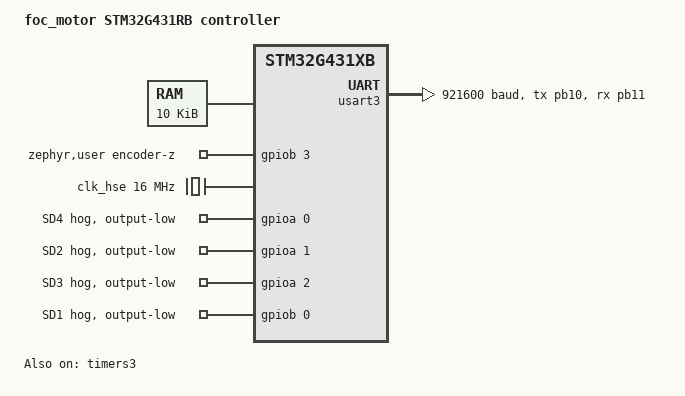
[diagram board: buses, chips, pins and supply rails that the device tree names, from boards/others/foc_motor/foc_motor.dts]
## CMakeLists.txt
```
cmake_minimum_required(VERSION 3.20.0)

list(APPEND BOARD_ROOT ${CMAKE_CURRENT_SOURCE_DIR})
find_package(Zephyr REQUIRED HINTS $ENV{ZEPHYR_BASE})
project(foc_motor LANGUAGES C)

target_sources(app PRIVATE src/main.c src/encoder.c src/analog.c src/pwm_adc.c src/foc_bench.c src/foc_ctrl.c src/power_guard.c src/motor_ident.c src/sincos.c src/foc_speed.c src/cog_map.c src/cog_proc.c)

# lib/foc: the same pure-C sources the host tests build (tests/host/foc).
# tests/foc_vectors: the fixed inputs shared with tests/host/foc/vec_compare.
set(FOC_SOURCES
  lib/foc/src/foc_transform.c
  lib/foc/src/foc_pi.c
  lib/foc/src/foc_svpwm.c
  lib/foc/src/foc_current.c
  tests/foc_vectors/foc_vectors.c)
target_sources(app PRIVATE ${FOC_SOURCES})
target_include_directories(app PRIVATE src lib/foc/include tests/foc_vectors)

# TEXT only: adc_buf and all other DMA/state buffers must stay in SRAM1/2.
# Zephyr generates the flash load image and copies it in arch_data_copy(),
# before z_cstart(), the boot bench, and pwm_adc_init(). NOKEEP preserves GC.
zephyr_code_relocate(FILES
  src/power_guard.c src/foc_speed.c
  lib/foc/src/foc_transform.c lib/foc/src/foc_pi.c
  lib/foc/src/foc_svpwm.c lib/foc/src/foc_current.c
  LOCATION CCM_TEXT NOKEEP)
# Thread interfaces and boot initialization stay in flash; every step target is CCM.
zephyr_code_relocate(FILES src/foc_ctrl.c
  FILTER "^(?!.*[.](ctrl_once|foc_ctrl_(init|snapshot|capture_get|capture_release|ident_get|ident_release|map_get|map_release))$).*"
  LOCATION CCM_TEXT NOKEEP)
zephyr_code_relocate(FILES src/cog_map.c
  FILTER "^(?!.*[.]cog_map_(start|release)$).*" LOCATION CCM_TEXT NOKEEP)
# Alignment validation, resistance fit, reset and result copy run once per identification in flash.
zephyr_code_relocate(FILES src/motor_ident.c
  FILTER "^(?!.*[.](ident_flash|align_delta|motor_ident_start|motor_ident_result_copy)$).*" LOCATION CCM_TEXT NOKEEP)
# Whole pwm_adc.c exceeds CCM capacity. Select attributed ISR helpers and
# the compiler's out-of-line atomic helpers; keep setup/thread APIs in flash.
zephyr_code_relocate(FILES src/pwm_adc.c
  FILTER ".*[.](ccm_hot|atomic_.*)$" LOCATION CCM_TEXT NOKEEP)
# encoder_count() is the ISR's only out-of-line encoder access.
zephyr_code_relocate(FILES src/encoder.c FILTER ".*[.]encoder_count$" LOCATION CCM_TEXT NOKEEP)
# double math is software-emulated on the single-precision M4F FPU.
set_source_files_properties(${FOC_SOURCES} src/foc_ctrl.c src/power_guard.c src/motor_ident.c src/foc_speed.c src/cog_map.c src/cog_proc.c PROPERTIES COMPILE_OPTIONS -Wdouble-promotion)
```

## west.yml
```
manifest:
  projects:
    - name: zephyr
      url: https://github.com/zephyrproject-rtos/zephyr
      revision: v4.4.2
      import:
        name-allowlist:
          - cmsis
          - cmsis_6
          - hal_stm32
  self:
    path: foc_motor
```

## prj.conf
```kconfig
CONFIG_GPIO=y
CONFIG_GPIO_HOGS=y
CONFIG_SENSOR=y

# Single-precision FPU, hard-float ABI (selects FPU_SHARING): lib/foc is float32.
CONFIG_FPU=y

# The ADC2 DMA ISR (future FOC ISR) is the only zero-latency IRQ (AGENTS.md).
CONFIG_ZERO_LATENCY_IRQS=y

# Copy CCM text before z_cstart(), including the boot bench and DMA ISR setup.
# ARM selects ARCH_HAS_CODE_DATA_RELOCATION; CCM is outside the SRAM MPU region,
# so CODE_DATA_RELOCATION_SRAM (which protects RAM_TEXT) is not needed here.
CONFIG_CODE_DATA_RELOCATION=y

CONFIG_MAIN_STACK_SIZE=512
# Measure the report thread's stack high-water mark after libm processing and dumps.
CONFIG_INIT_STACKS=y
CONFIG_THREAD_STACK_INFO=y
CONFIG_ISR_STACK_SIZE=1024
CONFIG_SYSTEM_WORKQUEUE_STACK_SIZE=512
CONFIG_HEAP_MEM_POOL_SIZE=0

CONFIG_SERIAL=y
CONFIG_CONSOLE=y
CONFIG_UART_CONSOLE=y
CONFIG_UART_ASYNC_API=y

CONFIG_LOG=y
CONFIG_LOG_MODE_DEFERRED=y
CONFIG_LOG_BACKEND_UART=y
CONFIG_LOG_BACKEND_UART_ASYNC=y
CONFIG_LOG_BACKEND_UART_BUFFER_SIZE=128
CONFIG_LOG_BUFFER_SIZE=1024
CONFIG_LOG_PROCESS_THREAD_CUSTOM_PRIORITY=y
CONFIG_LOG_PROCESS_THREAD_PRIORITY=6
CONFIG_LOG_BLOCK_IN_THREAD=n
CONFIG_LOG_MODE_OVERFLOW=y
CONFIG_LOG_PRINTK=y

CONFIG_PRINTK=y
CONFIG_BOOT_BANNER=y

CONFIG_COMPILER_WARNINGS_AS_ERRORS=y
CONFIG_BUILD_OUTPUT_BIN=y
CONFIG_BUILD_OUTPUT_HEX=y
```

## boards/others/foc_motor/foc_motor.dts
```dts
/* SPDX-License-Identifier: Apache-2.0 */

/dts-v1/;
#include <st/g4/stm32g431Xb.dtsi>
#include <st/g4/stm32g431r(6-8-b)tx-pinctrl.dtsi>
#include <zephyr/dt-bindings/dma/stm32_dma.h>
#include <zephyr/dt-bindings/gpio/gpio.h>

/ {
	model = "foc_motor STM32G431RB controller";
	compatible = "foc-motor";

	/*
	 * RM0440, memory map and embedded SRAM (DS12589 section 3.5 also
	 * confirms the addresses/sizes): the 10 KiB CCM code window uses
	 * the CPU I-code/D-code buses with zero wait states. DMA must
	 * not use this 0x10000000 window; keep all DMA buffers in sram0.
	 */
	ccm: memory@10000000 {
		compatible = "zephyr,memory-region", "mmio-sram";
		reg = <0x10000000 DT_SIZE_K(10)>;
		zephyr,memory-region = "CCM";
	};

	chosen {
		zephyr,console = &usart3;
		zephyr,shell-uart = &usart3;
		zephyr,sram = &sram0;
		zephyr,flash = &flash0;
	};

	/*
	 * HW-ENC-007 harness as built: encoder CN2-4 Z -> U7-3 PB3, rising edge
	 * once per turn. PB3 is also TRACESWO; only SWD is used, so the SWO
	 * trace output is unavailable while this pin is the Z input.
	 */
	zephyr,user {
		encoder-z-gpios = <&gpiob 3 (GPIO_ACTIVE_HIGH | GPIO_PULL_UP)>;
	};
};

/*
 * RM0440, embedded SRAM; DS12589 section 3.5: SRAM1 = 16 KiB, SRAM2 =
 * 6 KiB. The remaining 10 KiB of upstream sram0 is the CCM alias at
 * 0x20005800 (accessible to DMA through the System bus). Exclude that
 * alias so stacks, data and DMA cannot overlap CCM code.
 */
&sram0 {
	reg = <0x20000000 DT_SIZE_K(22)>;
};

&clk_hse {
	clock-frequency = <DT_FREQ_M(16)>;
	status = "okay";
};

&pll {
	div-m = <4>;
	mul-n = <85>;
	div-p = <7>;
	div-q = <2>;
	div-r = <2>;
	clocks = <&clk_hse>;
	status = "okay";
};

&rcc {
	clocks = <&pll>;
	clock-frequency = <DT_FREQ_M(170)>;
	ahb-prescaler = <1>;
	apb1-prescaler = <1>;
	apb2-prescaler = <1>;
};

&gpioa {
	status = "okay";

	sd4_hog: motor-shutdown-d {
		gpio-hog;
		gpios = <0 GPIO_ACTIVE_HIGH>;
		output-low;
		line-name = "SD4";
	};

	sd2_hog: motor-shutdown-b {
		gpio-hog;
		gpios = <1 GPIO_ACTIVE_HIGH>;
		output-low;
		line-name = "SD2";
	};

	sd3_hog: motor-shutdown-c {
		gpio-hog;
		gpios = <2 GPIO_ACTIVE_HIGH>;
		output-low;
		line-name = "SD3";
	};
};

&gpiob {
	status = "okay";

	sd1_hog: motor-shutdown-a {
		gpio-hog;
		gpios = <0 GPIO_ACTIVE_HIGH>;
		output-low;
		line-name = "SD1";
	};
};

/* HW-UART-003: H2 pin 6 TX/PB10, pin 5 RX/PB11, pin 1 GND. */
&usart3 {
	pinctrl-0 = <&usart3_tx_pb10 &usart3_rx_pb11>;
	pinctrl-names = "default";
	current-speed = <921600>;
	interrupts = <39 5>;
	dmas = <&dmamux1 2 29 (STM32_DMA_PERIPH_TX | STM32_DMA_PRIORITY_LOW)>;
	dma-names = "tx";
	status = "okay";
};

/*
 * HW-ENC-005/007: encoder A -> PB4 TIM3_CH1, B -> PB5 TIM3_CH2 (AF2). The
 * KTH7823 holds A/B/Z high at power-up, so the pull-ups match its idle level
 * and keep the inputs defined while the harness is unplugged.
 */
&tim3_ch1_pb4 {
	bias-pull-up;
};

&tim3_ch2_pb5 {
	bias-pull-up;
};

&timers3 {
	status = "okay";

	encoder: qdec {
		compatible = "st,stm32-qdec";
		pinctrl-0 = <&tim3_ch1_pb4 &tim3_ch2_pb5>;
		pinctrl-names = "default";
		/* x4: count every A and B edge, 1024 A/B periods -> 4096 counts per turn (HW-ENC-003). */
		st,encoder-mode = <0x3>;
		/* 8 samples at 170 MHz = 47 ns, well below the edge spacing at motor speed. */
		st,input-filter-level = <3>;
		st,counts-per-revolution = <4096>;
		status = "okay";
	};
};

/*
 * TIM1, ADC2 and DMA2 stay disabled here on purpose: src/pwm_adc.c drives
 * them directly (TIM1 outputs off, ADC2 [IA, IC] on TIM1 TRGO2, DMA2
 * channel 1), so no Zephyr driver or pinctrl may claim them. PC0-PC3 keep
 * their reset analog mode (HW-PWM-009).
 */

&exti {
	/* Same level as the other drivers; the FOC ISR is the only planned zero-latency IRQ. */
	interrupts = <6 5>, <7 5>, <8 5>, <9 5>, <10 5>, <23 5>, <40 5>;
};

&dma1 {
	interrupts = <11 5>, <12 5>, <13 5>, <14 5>, <15 5>, <16 5>;
	status = "okay";
};

&dmamux1 {
	status = "okay";
};
```

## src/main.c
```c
/* SPDX-License-Identifier: Apache-2.0 */

#include "cog_proc.h"
#include "encoder.h"
#include "foc_bench.h"
#include "foc_ctrl.h"
#include "pwm_adc.h"
#include "sincos.h"

#include <zephyr/devicetree.h>
#include <zephyr/devicetree/dma.h>
#include <zephyr/devicetree/gpio.h>
#include <zephyr/fatal.h>
#include <zephyr/kernel.h>
#include <zephyr/logging/log.h>
#include <zephyr/logging/log_ctrl.h>
#include <zephyr/sys/util.h>

LOG_MODULE_REGISTER(foc_motor, LOG_LEVEL_INF);

#define ASSERT_SHUTDOWN_LOW(node_id, port_id, pin, name)                                                               \
    BUILD_ASSERT(DT_NODE_HAS_PROP(node_id, gpio_hog), name " must be a GPIO hog");                                     \
    BUILD_ASSERT(DT_NODE_HAS_PROP(node_id, output_low), name " must start low");                                       \
    BUILD_ASSERT(DT_SAME_NODE(DT_PARENT(node_id), port_id), name " wrong port");                                       \
    BUILD_ASSERT(DT_GPIO_HOG_PIN_BY_IDX(node_id, 0) == (pin), name " wrong pin")

ASSERT_SHUTDOWN_LOW(DT_NODELABEL(sd1_hog), DT_NODELABEL(gpiob), 0, "SD1");
ASSERT_SHUTDOWN_LOW(DT_NODELABEL(sd2_hog), DT_NODELABEL(gpioa), 1, "SD2");
ASSERT_SHUTDOWN_LOW(DT_NODELABEL(sd3_hog), DT_NODELABEL(gpioa), 2, "SD3");
ASSERT_SHUTDOWN_LOW(DT_NODELABEL(sd4_hog), DT_NODELABEL(gpioa), 0, "SD4");
BUILD_ASSERT(!DT_NODE_HAS_STATUS(DT_NODELABEL(timers1), okay),
             "TIM1 node must stay disabled: no Zephyr PWM driver or pins (src/pwm_adc.c)");
BUILD_ASSERT(DT_SAME_NODE(DT_CHOSEN(zephyr_console), DT_NODELABEL(usart3))
                 && DT_SAME_NODE(DT_CHOSEN(zephyr_shell_uart), DT_NODELABEL(usart3)),
             "Console and shell UART must use the USART3 header");
BUILD_ASSERT(!DT_NODE_HAS_STATUS(DT_NODELABEL(usart1), okay), "CH340 USART1 must remain disabled");
BUILD_ASSERT(DT_PROP(DT_NODELABEL(usart3), current_speed) == 921600, "USART3 must run at 921600 baud");
BUILD_ASSERT(DT_DMAS_HAS_NAME(DT_NODELABEL(usart3), tx), "USART3 must have a TX DMA channel");
BUILD_ASSERT(DT_DMAS_CELL_BY_NAME(DT_NODELABEL(usart3), tx, channel) == 2,
             "USART3 TX must use DMA selector 2 (DMA1 channel 3) during M1");
BUILD_ASSERT(DT_DMAS_CELL_BY_NAME(DT_NODELABEL(usart3), tx, slot) == 29, "USART3 TX must use DMAMUX request 29");

/* Telemetry: a "rot" line every ROT_PERIOD_MS, the full report every REPORT_EVERY lines. */
#define ROT_PERIOD_MS     100
#define REPORT_EVERY      10U

/* TIM1 counts at HCLK: 170 ticks per microsecond. */
#define TIM1_TICKS_PER_US 170U

/*
 * The report path (log package + log message allocation) needs more than the
 * 512-byte main stack that the M1 budget pins, so it runs in its own
 * statically allocated thread, which also runs the Stage 5 FOC bench first.
 * Lower priority than the log thread (6).
 */
#define REPORT_STACK_SIZE 2048
#define REPORT_PRIORITY   7

K_THREAD_STACK_DEFINE(report_stack, REPORT_STACK_SIZE);
static struct k_thread report_thread;

/**
 * Shut down before application fatal logging, then retain Zephyr's halt policy.
 *
 * In v4.4.2, z_arm_fault() classifies and prints the hardware fault before
 * z_arm_fatal_error() dumps the exception frame. z_fatal_error() then logs
 * the reason/current thread and invokes coredump() before calling this hook.
 * CONFIG_EXCEPTION_DUMP_HOOK with arch_exception_set_dump_hook() could run
 * earlier, before each exception diagnostic; that optional output hook is not
 * installed here. Latency through the preceding diagnostics is not bounded.
 */
void k_sys_fatal_error_handler(unsigned int reason, const struct arch_esf* esf) {
    pwm_adc_fatal_off();
    ARG_UNUSED(esf);
    LOG_PANIC();
    LOG_ERR("fatal: power stage off (reason %u)", reason);
    k_fatal_halt(reason);
}

/** Log the report thread's minimum unused stack so far, outside the large dump frames. */
static __noinline void report_stack_space(const char* context) {
    size_t unused;
    int ret = k_thread_stack_space_get(&report_thread, &unused);

    if (ret == 0) {
        LOG_INF("report stack unused %u B (%s)", (unsigned int)unused, context);
    } else {
        LOG_WRN("report stack measurement failed: %d (%s)", ret, context);
    }
}

/* One capture line is about 60 characters, 0.7 ms at 921600 baud; the pause keeps the 1 KiB log buffer from dropping. */
#define CAPTURE_LINE_PAUSE_MS 2

/* Supervise FOC progress in system-timer ISR context, independent of report-thread delays. */
static void supervise_expiry(struct k_timer* timer) {
    ARG_UNUSED(timer);
    pwm_adc_supervise();
}

K_TIMER_DEFINE(supervise_timer, supervise_expiry, NULL);

static const char* const mode_names[] = {
    [FOC_MODE_IDLE] = "idle (zero vector)",
    [FOC_MODE_DC] = "dc (fixed vector, ramped)",
    [FOC_MODE_STEP] = "step (capture)",
    [FOC_MODE_VOLTAGE] = "voltage (stage 6, 1 V at the encoder angle)",
    [FOC_MODE_CURRENT] = "current loop (calibrated dq)",
    [FOC_MODE_IDENT] = "ident",
    [FOC_MODE_OPENLOOP] = "openloop (rotating vector, ramped)",
    [FOC_MODE_MAP] = "cogging map",
    [FOC_MODE_SPEED] = "speed loop (calibrated dq)",
};

/* Thousandths, truncated toward zero; the inputs are a few units at most. */
static int32_t milli(float x) {
    return (int32_t)(x * 1000.0f);
}

/* Duty in 1/10000. */
static uint32_t duty_e4(float d) {
    return (uint32_t)(d * 10000.0f + 0.5f);
}

/* Kept out of line so its log packages live on this frame, not report_loop's. */
static __noinline void report(uint32_t n, const pwm_adc_stats_t* st, bool timing_valid, const foc_ctrl_snapshot_t* fc) {
    LOG_INF("  calib_valid %u, direction %d, offset_e %u electrical counts", fc->calib_valid ? 1U : 0U,
            fc->calib_direction, fc->calib_offset_e);
    if (st->isr_count == 0U) {
        LOG_WRN("report %u: no ISR in this window; fault 0x%x, DMA errors %u, ADC overruns %u", n, st->fault,
                st->dma_errors, st->adc_overruns);
        return;
    }

    /* Counting down, CNT = ARR - ticks since the top, where the ADC was triggered. */
    uint32_t after_top_min = (PWM_ARR - st->cnt_max) * 100U / TIM1_TICKS_PER_US;
    uint32_t after_top_max = (PWM_ARR - st->cnt_min) * 100U / TIM1_TICKS_PER_US;

    if (timing_valid) {
        LOG_INF("report %u: %u ISR/s, period %u..%u cyc, exec max %u cyc (budget %u)", n, st->isr_count, st->period_min,
                st->period_max, st->exec_max, PWM_ADC_EXEC_BUDGET);
        LOG_INF("  segments pre/step/post max %u/%u/%u cyc", st->pre_max, st->step_max, st->post_max);
    } else {
        LOG_WRN("report %u: %u ISR/s, DWT was stopped (debugger?) and is restarted; cycle figures invalid", n,
                st->isr_count);
    }
    LOG_INF("  TIM1 CNT at ISR %u..%u (%u.%02u..%u.%02u us after top), counting up in %u", st->cnt_min, st->cnt_max,
            after_top_min / 100U, after_top_min % 100U, after_top_max / 100U, after_top_max % 100U, st->counting_up);
    LOG_INF("  overruns %u, missed %u, fault 0x%x, DMA errors %u, ADC overruns %u; CCR %u %u %u", st->overruns,
            st->missed, st->fault, st->dma_errors, st->adc_overruns, st->ccr[0], st->ccr[1], st->ccr[2]);
    if (fc->cal_failed) {
        LOG_ERR("  current calibration FAILED: offsets IA %d.%03d IC %d.%03d counts; spreads IA %u IC %u counts; "
                "power remains disabled until reset",
                milli(fc->ia_offset) / 1000, milli(fc->ia_offset) % 1000, milli(fc->ic_offset) / 1000,
                milli(fc->ic_offset) % 1000, fc->ia_spread, fc->ic_spread);
        return;
    }
    if (!fc->calibrated) {
        LOG_INF("  calibrating current offsets");
        return;
    }
    LOG_INF("  mode %s, step %u; offsets IA %d.%03d IC %d.%03d counts", mode_names[fc->mode], fc->steps,
            milli(fc->ia_offset) / 1000, milli(fc->ia_offset) % 1000, milli(fc->ic_offset) / 1000,
            milli(fc->ic_offset) % 1000);
    LOG_INF("  dtc %s%s", fc->dtc ? "on" : "off", fc->dtc_refused ? " (refused: V0 outside 50..600 mV)" : "");
    LOG_INF("  cff %s%s, ff_valid %u; map phase %u reason %u", fc->cff ? "on" : "off",
            fc->cff_refused ? " (refused: no valid map)" : "", fc->ff_valid ? 1U : 0U, (unsigned int)fc->map_phase,
            (unsigned int)fc->map_reason);
    LOG_INF("  ident phase %u", (unsigned int)fc->ident_phase);
    LOG_INF("  i_d %d mA, i_q %d mA, v_d %d mV, v_q %d mV, limited %d", milli(fc->i_d), milli(fc->i_q), milli(fc->v_d),
            milli(fc->v_q), fc->limited ? 1 : 0);
    if (fc->mode == FOC_MODE_SPEED) {
        LOG_INF("  speed kp %d uA/rpm, ki %d uA/(rpm s), ref %d milli-rpm, latched %d rpm",
                (int32_t)(FOC_CTRL_SPD_KP * 1e6f), (int32_t)(FOC_CTRL_SPD_KI * 1e6f), milli(fc->spd_ref_rpm),
                fc->spd_target_rpm);
    }
    if (fc->mode == FOC_MODE_CURRENT || fc->mode == FOC_MODE_SPEED) {
        LOG_INF("  cc refs id %d iq %d mA, kp %d mV/A, ki %d V/(A s), speed %d rpm", milli(fc->i_d_ref),
                milli(fc->i_q_ref), milli(fc->cc_kp), (int32_t)fc->cc_ki, fc->speed_counts * 6000 / 4096);
    }
}

/* Power-stage state and the averaged measurements for the R test. */
static __noinline void report_power(const pwm_adc_stats_t* st, const foc_ctrl_snapshot_t* fc) {
    LOG_INF("  power %s (request %d, on %u times), VBUS %d mV (avg %d mV); avg IA %d IB %d IC %d mA",
            st->power_on ? "ON" : "off", fc->power_req ? 1 : 0, st->power_ons, milli(fc->vbus), milli(fc->vbus_f),
            milli(fc->ia_f), milli(fc->ib_f), milli(fc->ic_f));
    LOG_INF("  cmd: arm %s, mode %u%s, v %u mV, theta_e %u; encoder mech %u",
            foc_ctrl_cmd.arm == FOC_CTRL_ARM_KEY ? "KEY" : "0", foc_ctrl_cmd.mode,
            fc->mode_refused ? " (refused, idle runs)" : "", foc_ctrl_cmd.v_mv, foc_ctrl_cmd.theta_e,
            fc->enc_count % ENCODER_COUNTS_PER_REV);
}

/** Emit speed telemetry at 100 ms intervals, including while a capture is being dumped. */
static __noinline void report_speed(foc_ctrl_snapshot_t* fc) {
    static int64_t next_ms;
    int64_t now = k_uptime_get();

    if (now < next_ms) {
        return;
    }
    next_ms = (now / ROT_PERIOD_MS + 1) * ROT_PERIOD_MS;
    foc_ctrl_snapshot(fc);
    if (fc->mode == FOC_MODE_SPEED) {
        LOG_INF("spd %u %d %d %d %d", fc->steps, (int32_t)fc->spd_ref_rpm, (int32_t)(fc->speed_rpm * 10.0f),
                milli(fc->i_q_ref), milli(fc->i_q));
    }
}

/* Prints a finished step capture, then hands the buffer back to the ISR. */
static __noinline void dump_capture(const foc_ctrl_capture_t* c, foc_ctrl_snapshot_t* fc) {
    if (c->kind == 2U) {
        LOG_INF("cap_begin seq %u, kind 2, refs %d -> %d rpm, VBUS %d mV, power %s, %u samples at 1 kHz, "
                "step at %u, dtc %s%s, cff %s%s",
                c->seq, c->old_spd_rpm, c->new_spd_rpm, milli(c->vbus), c->power_on ? "on" : "OFF",
                FOC_CTRL_CAPTURE_LEN, FOC_CTRL_CAPTURE_PRE, c->dtc ? "on" : "off",
                c->dtc_refused ? " (refused: implausible V0)" : "", c->cff ? "on" : "off",
                c->cff_refused ? " (refused: no valid map)" : "");
    } else if (c->kind == 1U) {
        LOG_INF("cap_begin seq %u, kind 1, refs id %d -> %d iq %d -> %d mA, VBUS %d mV, power %s, %u samples, "
                "step at %u, dtc %s%s, cff %s%s",
                c->seq, c->old_id_ma, c->new_id_ma, c->old_iq_ma, c->new_iq_ma, milli(c->vbus),
                c->power_on ? "on" : "OFF", FOC_CTRL_CAPTURE_LEN, FOC_CTRL_CAPTURE_PRE, c->dtc ? "on" : "off",
                c->dtc_refused ? " (refused: implausible V0)" : "", c->cff ? "on" : "off",
                c->cff_refused ? " (refused: no valid map)" : "");
    } else {
        LOG_INF("cap_begin seq %u, step %u mV at theta_e %u, VBUS %d mV, power %s, %u samples (%u zero, %u on)", c->seq,
                c->v_mv, c->theta_e, milli(c->vbus), c->power_on ? "on" : "OFF", FOC_CTRL_CAPTURE_LEN,
                FOC_CTRL_CAPTURE_PRE, FOC_CTRL_CAPTURE_ON);
    }
    for (uint32_t k = 0; k < FOC_CTRL_CAPTURE_LEN; k++) {
        if (c->kind == 2U) {
            LOG_INF("capspd %u %u %d %d", c->seq, k, c->ia_ma[k], c->ic_ma[k]);
        } else if (c->kind == 1U) {
            LOG_INF("capdq %u %u %d %d", c->seq, k, c->ia_ma[k], c->ic_ma[k]);
        } else {
            LOG_INF("cap %u %u %d %d", c->seq, k, c->ia_ma[k], c->ic_ma[k]);
        }
        k_msleep(CAPTURE_LINE_PAUSE_MS);
        report_speed(fc);
    }
    LOG_INF("cap_end seq %u", c->seq);
    foc_ctrl_capture_release();
}

/** Scale identification diagnostics without undefined integer conversion for an ill-conditioned fit. */
static int32_t ident_units(float value, float scale) {
    float scaled = value * scale;

    if (!(scaled > -2147483648.0f)) {
        return INT32_MIN; /* Includes NaN; terminal diagnostics must remain printable. */
    }
    if (scaled >= 2147483648.0f) {
        return INT32_MAX;
    }
    return (int32_t)scaled;
}

/** Print one terminal identification with explicit units, then release its ISR buffer. */
static __noinline void dump_ident(const foc_ctrl_ident_t* r) {
    LOG_INF("ident state %u, fail %u; enc120 %u enc240 %u enc360 %u raw mechanical counts", (unsigned int)r->state,
            (unsigned int)r->fail_reason, r->enc_120, r->enc_240, r->enc_360);
    LOG_INF("ident delta_a %d delta_b %d mechanical counts, direction %d, offset %u electrical counts", r->delta_a,
            r->delta_b, r->direction, r->offset_e);
    LOG_INF("ident park A %u B %u, return120 %u raw counts; friction half %d electrical counts", r->enc_360,
            r->enc_zero_back, r->enc_return_120, r->friction_half_e);
    LOG_INF("ident rotation c %d, load %d, offset_e_new %u electrical counts", r->offset_c, r->offset_load,
            r->offset_e_new);
    k_msleep(CAPTURE_LINE_PAUSE_MS);
    for (uint32_t k = 0U; k < IDENT_R_POINTS; k++) {
        LOG_INF("ident R point %u: %d mV, %d mA", k, milli(r->points[k].v), milli(r->points[k].i));
        k_msleep(CAPTURE_LINE_PAUSE_MS);
    }
    LOG_INF("ident R %d mOhm, V0 %d mV, residual %d mV, nonlinear %u; L %d uH, ipp %d mA", ident_units(r->r, 1000.0f),
            ident_units(r->v0, 1000.0f), ident_units(r->max_residual, 1000.0f), r->r_nonlinear ? 1U : 0U,
            ident_units(r->l, 1e6f), ident_units(r->ipp, 1000.0f));
    foc_ctrl_ident_release();
}

/** Process and report a terminal map before returning ownership to the ISR. */
static __noinline void dump_map(const cog_raw_t* raw, foc_ctrl_snapshot_t* fc) {
    static cog_processed_t result;
    bool ok = cog_process(raw, &result);
    LOG_INF("cogmap_result phase %u reason %u", (unsigned int)raw->phase, (unsigned int)raw->reason);
    for (uint32_t k = 0U; k < COG_GAIN_POINTS; k++) {
        float a = raw->gain[k].alpha_ma;
        float beta = raw->gain[k].beta_ma;
        LOG_INF("gainchk %u %u %d %d %d %d %d", k, k * 4096U / COG_GAIN_POINTS, ident_units(a, 1.0f),
                ident_units((-a + 1.7320508f * beta) * 0.5f, 1.0f), ident_units((-a - 1.7320508f * beta) * 0.5f, 1.0f),
                ident_units(result.magnitude_ma[k], 1.0f), ident_units(result.angle_error[k], 1.0f));
        k_msleep(CAPTURE_LINE_PAUSE_MS);
        report_speed(fc);
    }
    LOG_INF("gainfit I0 %d e1 %d p1 %d e2 %d p2 %d", ident_units(result.i0_ma, 1.0f),
            ident_units(result.e1_permille, 1.0f), ident_units(result.p1_counts, 1.0f),
            ident_units(result.e2_permille, 1.0f), ident_units(result.p2_counts, 1.0f));
    if (ok) {
        for (uint32_t b = 0U; b < FOC_CTRL_MAP_BINS; b++) {
            LOG_INF("cogmap %u %d %d %d", b, (int32_t)cog_bin_mean(raw, 0U, b), (int32_t)cog_bin_mean(raw, 1U, b),
                    result.ff[b]);
            k_msleep(CAPTURE_LINE_PAUSE_MS);
            report_speed(fc);
        }
        for (uint32_t h = 0U; h < COG_HARMONICS; h++) {
            LOG_INF("cogharm %u %d %d", cog_orders[h], (int32_t)result.harmonic[h].amplitude_ma,
                    (int32_t)result.harmonic[h].phase_counts);
            k_msleep(CAPTURE_LINE_PAUSE_MS);
        }
        LOG_INF("friction %d", (int32_t)result.friction_ma);
        LOG_INF("gain e2 includes phase resistance imbalance; order 84 is near the 256-bin resolution limit");
    }
    LOG_INF("cogmap_ok %u", ok ? 1U : 0U);
    foc_ctrl_map_release(ok ? result.ff : NULL);
}

/* Mechanical count, electrical angle (0..4095) and the three duties of one ISR step. */
static __noinline void report_rot(const foc_ctrl_snapshot_t* fc) {
    LOG_INF("rot %u %u %u %u %u %u", fc->steps, fc->enc_count % ENCODER_COUNTS_PER_REV, fc->theta_e_count,
            duty_e4(fc->duty_a), duty_e4(fc->duty_b), duty_e4(fc->duty_c));
}

/** Print commanded and calibrated rotor angles at the rotation telemetry cadence. */
static __noinline void report_openloop(const foc_ctrl_snapshot_t* fc) {
    if (fc->calib_valid) {
        int32_t err = (int32_t)((fc->theta_e_count + 2048U - fc->theta_meas_count) & 4095U) - 2048;

        LOG_INF("ol %u %u %u %d", fc->steps, fc->theta_e_count, fc->theta_meas_count, err);
    } else {
        LOG_INF("ol %u %u invalid", fc->steps, fc->theta_e_count);
    }
}

/* Stage 5 bench first, while no ISR can disturb the timing; then the FOC ISR and its telemetry. */
static void report_loop(void* p1, void* p2, void* p3) {
    ARG_UNUSED(p1);
    ARG_UNUSED(p2);
    ARG_UNUSED(p3);

    pwm_adc_stats_t st;
    foc_ctrl_snapshot_t fc;

    sincos_init();
    foc_bench_run();

    foc_ctrl_init();
    int ret = pwm_adc_init(foc_ctrl_step, foc_ctrl_fault);

    if (ret < 0) {
        LOG_ERR("pwm_adc_init failed: %d", ret);
        return;
    }
    k_timer_start(&supervise_timer, K_MSEC(10), K_MSEC(10));
    LOG_INF("FOC ISR on: TIM1 ARR %u (20 kHz center-aligned, RCR 1), ADC2 [IA, IC, VBUS] on TRGO2 at the top; "
            "offset calibration %u periods; power stage off",
            PWM_ARR, FOC_CTRL_CAL_SAMPLES);
    LOG_INF("command block foc_ctrl_cmd at %p: arm +0, mode +4, v_mv +8, theta_e +12, step_seq +16, rate_e +20; "
            "id_ma +24, iq_ma +28, dtc +32, spd_rpm +36, spd_step +40, cff +44, crash +48; arm key 0x%08x",
            (void*)&foc_ctrl_cmd, FOC_CTRL_ARM_KEY);

    /* Drop the start-up window. */
    (void)pwm_adc_stats_take(&st);
    bool supervisor_reported = false;

    for (uint32_t n = 1;; n++) {
        k_msleep((int32_t)(ROT_PERIOD_MS - k_uptime_get() % ROT_PERIOD_MS));

        /* Test-only debugger hook: SVC oops reaches our fatal handler in Zephyr v4.4.2. */
        if (foc_ctrl_cmd.crash == 0x43524153U) { /* "CRAS" */
            foc_ctrl_cmd.crash = 0U;
            k_oops();
        }
        if (!supervisor_reported && pwm_adc_supervisor_tripped()) {
            LOG_ERR("FOC ISR progress below 150 per 10 ms while powered; power stage off, timer stopped until reset");
            supervisor_reported = true;
        }
        if (!pwm_adc_outputs_safe()) {
            pwm_adc_stop();
            LOG_ERR("pin invariant broken (PC0-PC3, SD1-SD4 or CCER); power stage off, outputs off, timer stopped");
            return;
        }
        foc_ctrl_snapshot(&fc);
        if (fc.calibrated) {
            report_rot(&fc);
            report_speed(&fc);
            if (fc.mode == FOC_MODE_OPENLOOP) {
                report_openloop(&fc);
            }
        }
        if (n % REPORT_EVERY == 0U) {
            bool timing_valid = pwm_adc_stats_take(&st);

            report(n / REPORT_EVERY, &st, timing_valid, &fc);
            if (fc.calibrated) {
                report_power(&st, &fc);
            }
            report_stack_space("periodic");
        }

        const foc_ctrl_capture_t* c = foc_ctrl_capture_get();

        if (c != NULL) {
            dump_capture(c, &fc);
            report_stack_space("after dump_capture");
        }
        const foc_ctrl_ident_t* ident = foc_ctrl_ident_get();

        if (ident != NULL) {
            dump_ident(ident);
            report_stack_space("after dump_ident");
        }
        const cog_raw_t* raw = foc_ctrl_map_get();
        if (raw != NULL) {
            dump_map(raw, &fc);
            report_stack_space("after dump_map");
        }
    }
}

int main(void) {
    int ret = encoder_init();

    LOG_INF("Stage 8 build: FOC bench, then the FOC ISR; power stage off until armed (VBUS 14.0-16.5 V, arm key); "
            "TIM1 CH1-3 also on PA8-PA10, CH3N on PB9 (U7-4)");
    if (ret < 0) {
        LOG_ERR("encoder_init failed: %d", ret);
        return 0;
    }

    (void)k_thread_create(&report_thread, report_stack, K_THREAD_STACK_SIZEOF(report_stack), report_loop, NULL, NULL,
                          NULL, REPORT_PRIORITY, 0, K_NO_WAIT);
    return 0;
}
```

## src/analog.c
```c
/* SPDX-License-Identifier: Apache-2.0 */

#include "analog.h"

#include <zephyr/devicetree.h>

/* Board constants from DOC-MAIN-SCH. */
#define NTC_PULLUP_OHM 10000

int32_t analog_code_x100_to_mv(int32_t code_x100) {
    int64_t num = (int64_t)code_x100 * ANALOG_VDDA_MV;

    return (int32_t)(num / (100LL * ANALOG_FULL_SCALE));
}

int32_t analog_phase_current_ma(int32_t code_x100, int32_t offset_x100) {
    int64_t num = (int64_t)(code_x100 - offset_x100) * ANALOG_VDDA_MV * ANALOG_SHUNT_MA_PER_V;

    /* mV * (mA/V) / 1000 = mA */
    return (int32_t)(num / (100LL * ANALOG_FULL_SCALE * 1000));
}

int32_t analog_vbus_mv(int32_t code_x100) {
    int64_t pin_mv = analog_code_x100_to_mv(code_x100);

    return (int32_t)(pin_mv * (ANALOG_VBUS_DIV_TOP_OHM + ANALOG_VBUS_DIV_BOT_OHM) / ANALOG_VBUS_DIV_BOT_OHM);
}

int32_t analog_ntc_ohm(int32_t code_x100) {
    int64_t den = 100LL * ANALOG_FULL_SCALE - code_x100;

    if (den <= 0) {
        return -1;
    }
    return (int32_t)((int64_t)NTC_PULLUP_OHM * code_x100 / den);
}
```

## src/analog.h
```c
/* SPDX-License-Identifier: Apache-2.0 */

/*
 * BSP: the board's ADC count-to-unit conversions for the phase currents,
 * bus voltage and NTC (docs/hardware/hardware_reference.md section 4 and
 * schematic R36/R38). The samples come from src/pwm_adc.c.
 *
 * All conversions are integer and take VDDA from the ADC2 devicetree node
 * (vref-mv, default 3300).
 */

#ifndef FOC_MOTOR_ANALOG_H
#define FOC_MOTOR_ANALOG_H

#include <stdint.h>

#include <zephyr/devicetree.h>

/* 12-bit full-scale code (RM0440: V = code * VREF+ / 4095). */
#define ANALOG_FULL_SCALE       4095

/* VREF+ = VDDA = the board 3.3 V rail; the binding default is 3300. */
#define ANALOG_VDDA_MV          DT_PROP(DT_NODELABEL(adc2), vref_mv)

/* 1 / (5 mOhm shunt * gain 10) = 20 A/V (HW-ADC-001/002). */
#define ANALOG_SHUNT_MA_PER_V   20000

/* DC bus divider R83 / R56 (HW-ADC-013). */
#define ANALOG_VBUS_DIV_TOP_OHM 100000
#define ANALOG_VBUS_DIV_BOT_OHM 4700

/* DC bus volts per ADC count, for the float control path: VDDA / 4095 * (100k + 4.7k) / 4.7k. */
#define ANALOG_VBUS_V_PER_CODE                                                                                         \
    ((float)ANALOG_VDDA_MV * (float)(ANALOG_VBUS_DIV_TOP_OHM + ANALOG_VBUS_DIV_BOT_OHM)                                \
     / (1000.0f * (float)ANALOG_FULL_SCALE * (float)ANALOG_VBUS_DIV_BOT_OHM))

/* Phase current per ADC count, in A, for the float control path: VDDA / 4095 * 20 A/V. */
#define ANALOG_PHASE_A_PER_CODE                                                                                        \
    ((float)ANALOG_VDDA_MV * (float)ANALOG_SHUNT_MA_PER_V / (1e6f * (float)ANALOG_FULL_SCALE))

/* Pin voltage in mV for a code given in hundredths of a count. */
int32_t analog_code_x100_to_mv(int32_t code_x100);

/*
 * Phase current in mA: I = (V - V_offset) / (5 mOhm * 10) = 20 A/V
 * (HW-ADC-001/002). The offset is the measured zero-current code, both in
 * hundredths of a count. The sign convention is not confirmed (HW-ADC-010).
 */
int32_t analog_phase_current_ma(int32_t code_x100, int32_t offset_x100);

/* DC bus in mV: V_BUS pin * (100k + 4.7k) / 4.7k (HW-ADC-006). */
int32_t analog_vbus_mv(int32_t code_x100);

/*
 * NTC resistance in ohms: 3.3 V -> R38 10k -> TEMP -> NTC -> GND, so
 * R_ntc = 10k * code / (4095 - code), independent of VDDA. Returns -1 at
 * full scale (NTC open). The NTC nominal value and B constant are unknown.
 */
int32_t analog_ntc_ohm(int32_t code_x100);

#endif /* FOC_MOTOR_ANALOG_H */
```

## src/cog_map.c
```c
/* SPDX-License-Identifier: Apache-2.0 */
#include "cog_map.h"

#include <math.h>
#include <stddef.h>

_Static_assert(ATOMIC_INT_LOCK_FREE == 2, "ISR publication requires lock-free atomics");
/* |iq| <= 0.5 A, quantized to mA: even every period in one bin is
 * <= 1100000 * 500 = 550000000 < INT32_MAX. Counts are checked before
 * incrementing; uint16 saturation aborts rather than wrapping.
 */
_Static_assert(COG_TIMEOUT_N <= INT32_MAX / 500U, "map sums must fit int32");

/** Publish once; subsequent calls cannot alter the thread-owned buffer. */
static void finish(cog_map_t* m, cog_fail_t reason) {
    m->raw.reason = reason;
    m->raw.phase = reason == COG_OK ? COG_DONE : COG_FAILED;
    m->voltage = 0.0f;
    atomic_store_explicit(&m->ready, 1U, memory_order_release);
}

/** Start with bounded word stores; never clear a thread-owned result. */
bool cog_map_start(cog_map_t* m, bool power, bool calibration, float voltage, int32_t direction, uint32_t enc) {
    if (atomic_load_explicit(&m->ready, memory_order_acquire) != 0U) {
        return false;
    }
    /* Clear one bin per period before excitation, bounding mode-entry WCET. */
    volatile cog_raw_t* r = &m->raw;
    for (uint32_t k = 0U; k < COG_GAIN_POINTS; k++) {
        r->gain[k].alpha_ma = 0.0f;
        r->gain[k].beta_ma = 0.0f;
        r->gain[k].enc = 0U;
    }
    m->raw.phase = COG_CLEAR;
    m->clear_bin = 0U;
    m->raw.reason = COG_OK;
    m->ticks = 0U;
    m->dwell = 0U;
    m->slip = 0U;
    m->point = 0U;
    m->previous = enc;
    m->travel = 0;
    m->direction = direction;
    m->voltage = 0.0f;
    m->target_v = voltage;
    m->alpha_sum = 0.0f;
    m->beta_sum = 0.0f;
    m->pos = 0;
    m->tgt_q16 = 0;
    m->tgt_rem = 0;
    m->integ = 0.0f;
    m->iq_cmd = 0.0f;
    if (!power) {
        finish(m, COG_NOT_POWERED);
    } else if (!calibration || !(voltage > 0.05f && voltage < 0.9f) || (direction != 1 && direction != -1)) {
        finish(m, COG_CALIBRATION);
    }
    return true;
}

/** Preserve partial measurements when cancellation or protection ends a run. */
void cog_map_abort(cog_map_t* m, cog_fail_t reason) {
    if (m->raw.phase > COG_IDLE && m->raw.phase < COG_DONE) {
        finish(m, reason);
    }
}

/** Advance the open-loop voltage sweep and bidirectional speed-map sequencer. */
void cog_map_step(cog_map_t* m, const cog_map_in_t* in) {
    if (m->raw.phase == COG_IDLE || m->raw.phase >= COG_DONE) {
        return;
    }
    if (in->fault) {
        cog_map_abort(m, COG_FAULT);
    } else if (!in->armed) {
        cog_map_abort(m, COG_CANCELLED);
    } else if (!in->power) {
        cog_map_abort(m, COG_NOT_POWERED);
    } else if (!isfinite(in->alpha) || !isfinite(in->beta) || !isfinite(in->rpm)) {
        cog_map_abort(m, COG_NUMERIC);
    } else if (++m->ticks > COG_TIMEOUT_N) {
        cog_map_abort(m, COG_TIMEOUT);
    }
    if (m->raw.phase >= COG_DONE) {
        return;
    }
    if (m->raw.phase != COG_GAIN_DECAY) {
        m->dwell++;
    }
    switch (m->raw.phase) {
        case COG_CLEAR:
            m->raw.sum[0][m->clear_bin] = 0;
            m->raw.sum[1][m->clear_bin] = 0;
            m->raw.count[0][m->clear_bin] = 0U;
            m->raw.count[1][m->clear_bin] = 0U;
            if (++m->clear_bin == FOC_CTRL_MAP_BINS) {
                m->raw.phase = COG_GAIN_RAMP;
                m->dwell = 0U;
            }
            break;
        case COG_GAIN_RAMP:
            m->voltage += 50e-6f; /* 1 V/s, including the first angle. */
            if (m->voltage >= m->target_v) {
                m->voltage = m->target_v;
                m->raw.phase = COG_GAIN_SETTLE;
                m->dwell = 0U;
            }
            break;
        case COG_GAIN_SETTLE:
            if (m->dwell == COG_SETTLE_N) {
                m->raw.phase = COG_GAIN_AVERAGE;
                m->dwell = 0U;
            }
            break;
        case COG_GAIN_AVERAGE:
            m->alpha_sum += in->alpha;
            m->beta_sum += in->beta;
            if (m->dwell == COG_AVERAGE_N) {
                m->raw.gain[m->point].alpha_ma = m->alpha_sum * (1000.0f / COG_AVERAGE_N);
                m->raw.gain[m->point].beta_ma = m->beta_sum * (1000.0f / COG_AVERAGE_N);
                m->raw.gain[m->point].enc = in->enc;
                m->alpha_sum = 0.0f;
                m->beta_sum = 0.0f;
                m->raw.phase = COG_GAIN_DECAY;
                m->dwell = 0U;
            }
            break;
        case COG_GAIN_DECAY:
            m->voltage -= 50e-6f;
            if (m->voltage <= 0.0f) {
                m->voltage = 0.0f;
                /* Wait 20 ms at zero voltage before stepping: no energized
                 * angle discontinuity. The rotor follows each 1 V/s ramp.
                 */
                if (m->dwell++ >= 400U) {
                    m->point++;
                    m->dwell = 0U;
                    m->raw.phase = m->point == COG_GAIN_POINTS ? COG_FORWARD_SETTLE : COG_GAIN_RAMP;
                    if (m->raw.phase == COG_FORWARD_SETTLE) {
                        /* Hold where the rotor is: position and target both start at 0. */
                        m->previous = in->enc;
                        m->pos = 0;
                        m->tgt_q16 = 0;
                        m->tgt_rem = 0;
                        m->integ = 0.0f;
                        m->iq_cmd = 0.0f;
                    }
                }
            } else {
                m->dwell = 0U;
            }
            break;
        default: {
            /* Phase B: position-loop sweep (see cog_map.h). */
            int32_t delta = (int32_t)((in->enc - m->previous + 2048U) & 4095U) - 2048;
            m->previous = in->enc;
            m->pos += delta * m->direction;
            int32_t rate = m->raw.phase == COG_FORWARD   ? COG_POS_RATE_CPS
                           : m->raw.phase == COG_REVERSE ? -COG_POS_RATE_CPS
                                                         : 0;
            /* Exact Q16 target: |rate * 65536| < 2^25, no float drift over the sweep. */
            int32_t numerator = rate * 65536 + m->tgt_rem;
            m->tgt_q16 += numerator / 20000;
            m->tgt_rem = numerator % 20000;
            float err = (float)m->tgt_q16 * (1.0f / 65536.0f) - (float)m->pos;
            if (!(fabsf(err) <= COG_POS_SLIP_COUNTS)) {
                cog_map_abort(m, COG_SLIP); /* stalled, slipped, or a sign error */
                break;
            }
            m->integ += COG_POS_KI_DT * err;
            if (m->integ > COG_POS_INT_MAX) {
                m->integ = COG_POS_INT_MAX;
            } else if (m->integ < -COG_POS_INT_MAX) {
                m->integ = -COG_POS_INT_MAX;
            }
            float target_rpm = (float)rate * (60.0f / 4096.0f);
            float iq = COG_POS_KP * err + m->integ + COG_POS_KD * (target_rpm - in->rpm);
            if (iq > COG_POS_I_MAX) {
                iq = COG_POS_I_MAX;
            } else if (iq < -COG_POS_I_MAX) {
                iq = -COG_POS_I_MAX;
            }
            if (m->raw.phase == COG_FORWARD_SETTLE || m->raw.phase == COG_REVERSE_SETTLE) {
                m->iq_cmd = iq;
                if (m->dwell == COG_POS_HOLD_N) {
                    m->raw.phase = m->raw.phase == COG_FORWARD_SETTLE ? COG_FORWARD : COG_REVERSE;
                    m->dwell = 0U;
                    m->travel = 0;
                }
                break;
            }
            /* The iq applied during the period that ended at this sample was last period's command. */
            uint32_t d = m->raw.phase == COG_FORWARD ? 0U : 1U;
            uint32_t b = (in->enc & 4095U) >> 4U;
            if (m->raw.count[d][b] == UINT16_MAX) {
                cog_map_abort(m, COG_OVERFLOW);
                break;
            }
            m->raw.sum[d][b] += (int32_t)(m->iq_cmd * 1000.0f);
            m->raw.count[d][b]++;
            m->iq_cmd = iq;
            m->travel += delta * m->direction * (d == 0U ? 1 : -1);
            if (m->travel >= (int32_t)(COG_POS_REVS * 4096U)) {
                if (d == 0U) {
                    m->raw.phase = COG_REVERSE_SETTLE;
                    m->dwell = 0U;
                } else {
                    finish(m, COG_OK);
                }
            }
            break;
        }
    }
}

/** Acquire all raw stores preceding terminal publication. */
const cog_raw_t* cog_map_get(const cog_map_t* m) {
    return atomic_load_explicit(&m->ready, memory_order_acquire) != 0U ? &m->raw : NULL;
}

/** Release only after the thread no longer accesses raw data. */
void cog_map_release(cog_map_t* m) {
    atomic_store_explicit(&m->ready, 0U, memory_order_release);
}

/** Use integer constant division only on angle changes, outside phase B. */
uint32_t cog_map_angle(const cog_map_t* m) {
    return m->point < COG_GAIN_POINTS ? m->point * 4096U / COG_GAIN_POINTS : 0U;
}

/** Select the closed current loop at the calibrated angle while phase B runs. */
bool cog_map_current(const cog_map_t* m) {
    return m->raw.phase >= COG_FORWARD_SETTLE && m->raw.phase <= COG_REVERSE;
}

/** Bin b represents count 16*b+8; shift by half a bin before interpolation. */
float cog_ff_lookup(const int16_t table[FOC_CTRL_MAP_BINS], uint32_t enc) {
    uint32_t position = (enc - 8U) & 4095U;
    uint32_t b = position >> 4U;
    float fraction = (float)(position & 15U) * (1.0f / 16.0f);
    float left = (float)table[b];
    return (left + ((float)table[(b + 1U) & 255U] - left) * fraction) * 0.001f;
}

/** Keep the existing torque-current limits after adding position feed-forward. */
float cog_ff_apply(float iq, float limit, bool enabled, bool valid, const int16_t* table, uint32_t enc) {
    if (enabled && valid) {
        iq += cog_ff_lookup(table, enc);
    }
    if (iq > limit) {
        return limit;
    }
    return iq < -limit ? -limit : iq;
}
```

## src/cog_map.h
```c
/* SPDX-License-Identifier: Apache-2.0 */
#ifndef FOC_MOTOR_COG_MAP_H
#define FOC_MOTOR_COG_MAP_H

#include <stdatomic.h>
#include <stdbool.h>
#include <stdint.h>

#define FOC_CTRL_MAP_BINS   256U
#define COG_GAIN_POINTS     12U
#define COG_SETTLE_N        6000U
#define COG_AVERAGE_N       2000U
#define COG_TIMEOUT_N       1400000U /* 70 s: gain check about 16 s, sweep about 42 s. */
#define COG_MIN_SAMPLES     32U

/*
 * Phase B is a position-loop sweep, not a speed-loop run: on the bench the
 * 10 rpm speed loop went stick-slip (stage 8 run 1), because its iq builds
 * up too slowly against stiction and cogging. A stiff position loop drags a
 * target angle at COG_POS_RATE_CPS; the iq it needs at each measured
 * position is cogging + friction (+ a small inertial term at this speed).
 * Positions are calibrated mechanical counts (direction applied).
 */
#define COG_POS_RATE_CPS    410    /* counts/s, about 6.0 rpm */
#define COG_POS_REVS        2U     /* turns each way */
#define COG_POS_HOLD_N      10000U /* 0.5 s hold before each sweep */
#define COG_POS_SLIP_COUNTS 400.0f /* |target - position| that aborts (35 deg mechanical) */
/*
 * Stage 8 run 2 stuck at one position with iq at a 0.5 A cap: at crawl speed
 * the sweep must beat the static 84/turn slot cogging plus friction, which
 * the bench showed to exceed 0.5 A (about 11 mNm). 1.0 A stays below the
 * identification currents (up to 1.5 A) and the 2 A software trip.
 */
#define COG_POS_I_MAX       1.0f /* A */
#define COG_POS_INT_MAX     0.8f /* A, integral clamp */

/*
 * PID gains for an inertia J and torque constant Kt at bandwidth w with
 * damping zeta: kp = J*w^2/Kt, kd = 2*zeta*J*w/Kt, ki = kp*w/5. J is the
 * stage 7 assumption (not measured: a pulse test is dominated by the
 * 3-4 mNm cogging at any current that stays below the overspeed trip for
 * an unknown J). For J three times smaller the loop is faster and more
 * damped; three times larger gives w/sqrt(3) and zeta/sqrt(3) = 0.46 (host
 * simulation covers both). Units: A per count, A per rpm, A per count per
 * period.
 */
#define COG_J_EST           1.5e-5f /* kg m^2 */
#define COG_KT              0.0217f /* Nm/A */
#define COG_POS_W           (6.28318530718f * 10.0f)
#define COG_POS_ZETA        0.8f
#define COG_POS_KP          (COG_J_EST * COG_POS_W * COG_POS_W / COG_KT * (6.28318530718f / 4096.0f))
#define COG_POS_KD          (2.0f * COG_POS_ZETA * COG_J_EST * COG_POS_W / COG_KT * (6.28318530718f / 60.0f))
#define COG_POS_KI_DT       (COG_POS_KP * COG_POS_W * 0.2f * 50e-6f)

typedef enum {
    COG_IDLE,
    COG_CLEAR,
    COG_GAIN_RAMP,
    COG_GAIN_SETTLE,
    COG_GAIN_AVERAGE,
    COG_GAIN_DECAY,
    COG_FORWARD_SETTLE,
    COG_FORWARD,
    COG_REVERSE_SETTLE,
    COG_REVERSE,
    COG_DONE,
    COG_FAILED
} cog_phase_t;
typedef enum {
    COG_OK,
    COG_NOT_POWERED,
    COG_CALIBRATION,
    COG_CANCELLED,
    COG_FAULT,
    COG_NUMERIC,
    COG_SLIP,
    COG_TIMEOUT,
    COG_OVERFLOW
} cog_fail_t;
typedef struct {
    float alpha_ma;
    float beta_ma;
    uint32_t enc;
} cog_gain_t;
typedef struct {
    int32_t sum[2][FOC_CTRL_MAP_BINS]; /* mA; forward then reverse, calibrated torque sign. */
    uint16_t count[2][FOC_CTRL_MAP_BINS];
    cog_gain_t gain[COG_GAIN_POINTS];
    cog_phase_t phase;
    cog_fail_t reason;
} cog_raw_t;

typedef struct {
    uint32_t enc;
    float alpha;
    float beta;
    float rpm; /* calibrated frame, from the 10 ms estimator */
    bool power;
    bool armed;
    bool fault;
} cog_map_in_t;

/** ISR-owned sequencer; ready transfers the entire raw buffer to the thread.
 * A start is refused while ready=1. The thread must finish processing, table
 * publication and reporting before release; no raw writes occur in that time.
 */
typedef struct {
    cog_raw_t raw;
    atomic_uint ready;
    uint32_t ticks;
    uint32_t clear_bin;
    uint32_t dwell;
    uint32_t slip;
    uint32_t point;
    uint32_t previous;
    int32_t travel;
    int32_t direction;
    float voltage;
    float target_v;
    float alpha_sum;
    float beta_sum;
    int32_t pos;     /* measured, calibrated counts since the sweep start */
    int32_t tgt_q16; /* target, Q16 calibrated counts */
    int32_t tgt_rem; /* fractional carry of the target, denominator 20000 */
    float integ;     /* A, PID integral */
    float iq_cmd;    /* A, the sweep's iq reference for the next period */
} cog_map_t;

/** Begin a run only if the thread has released the preceding result. */
bool cog_map_start(cog_map_t* m, bool power, bool calibration, float voltage, int32_t direction, uint32_t enc);
/** Advance one 50 us period and publish a terminal buffer with release ordering. */
void cog_map_step(cog_map_t* m, const cog_map_in_t* in);
/** Abort an active run and publish its immutable partial result. */
void cog_map_abort(cog_map_t* m, cog_fail_t reason);
/** Acquire a terminal raw buffer, or NULL while the ISR owns it. */
const cog_raw_t* cog_map_get(const cog_map_t* m);
/** Return raw-buffer ownership to the ISR after processing and reporting. */
void cog_map_release(cog_map_t* m);
/** Return the calibrated electrical command angle for the gain check. */
uint32_t cog_map_angle(const cog_map_t* m);
/** True while phase B runs the current loop at the calibrated angle with iq = iq_cmd. */
bool cog_map_current(const cog_map_t* m);
/** Interpolate mA samples at mechanical bin centres, including the wrap. */
float cog_ff_lookup(const int16_t table[FOC_CTRL_MAP_BINS], uint32_t enc);
/** Add an accepted feed-forward request and clamp to the current reference limit. */
float cog_ff_apply(float iq, float limit, bool enabled, bool valid, const int16_t* table, uint32_t enc);

#endif
```

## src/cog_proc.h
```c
/* SPDX-License-Identifier: Apache-2.0 */
#ifndef FOC_MOTOR_COG_PROC_H
#define FOC_MOTOR_COG_PROC_H
#include "cog_map.h"

#define COG_HARMONICS 7U

typedef struct {
    float amplitude_ma;
    float phase_counts;
} cog_harmonic_t;
typedef struct {
    int16_t ff[FOC_CTRL_MAP_BINS];
    float friction_ma;
    cog_harmonic_t harmonic[COG_HARMONICS];
    float magnitude_ma[COG_GAIN_POINTS];
    float angle_error[COG_GAIN_POINTS];
    float i0_ma;
    float e1_permille;
    float p1_counts;
    float e2_permille;
    float p2_counts;
    bool valid;
} cog_processed_t;
extern const uint32_t cog_orders[COG_HARMONICS];

/** Process an immutable map in thread context; no hardware or RTOS dependencies.
 * Harmonic phases use A*cos(order*theta-phase), with theta at bin centres.
 * Order 84 is near the 256-bin resolution limit and is attenuated by binning
 * and interpolation. Gain e2 also includes phase-resistance imbalance;
 * e1 indicates residual offset and is not a sensor-gain correction.
 */
bool cog_process(const cog_raw_t* raw, cog_processed_t* out);
/** Return one directional mean in mA; requires a validated nonempty bin. */
float cog_bin_mean(const cog_raw_t* raw, uint32_t direction, uint32_t bin);

#endif
```

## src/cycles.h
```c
/* SPDX-License-Identifier: Apache-2.0 */

/*
 * BSP: the DWT cycle counter (CYCCNT), one count per HCLK cycle (170 MHz).
 * A J-Link disconnect can stop it (TRCENA/CYCCNTENA cleared, seen in stage 4
 * run 1), so callers check cycles_start() before trusting a measurement.
 */

#ifndef FOC_MOTOR_CYCLES_H
#define FOC_MOTOR_CYCLES_H

#include <stdbool.h>
#include <stdint.h>

#include <soc.h>

#define CYCLES_PER_US 170U

/* Starts the counter if it is stopped. Returns true if it was already running. */
static inline bool cycles_start(void) {
    bool running = (CoreDebug->DEMCR & CoreDebug_DEMCR_TRCENA_Msk) != 0U && (DWT->CTRL & DWT_CTRL_CYCCNTENA_Msk) != 0U;

    if (!running) {
        CoreDebug->DEMCR |= CoreDebug_DEMCR_TRCENA_Msk;
        DWT->CTRL |= DWT_CTRL_CYCCNTENA_Msk;
    }
    return running;
}

/* Wraps every 2^32 cycles (25 s); differences of uint32_t are correct across one wrap. */
static inline uint32_t cycles_now(void) {
    return DWT->CYCCNT;
}

#endif /* FOC_MOTOR_CYCLES_H */
```
